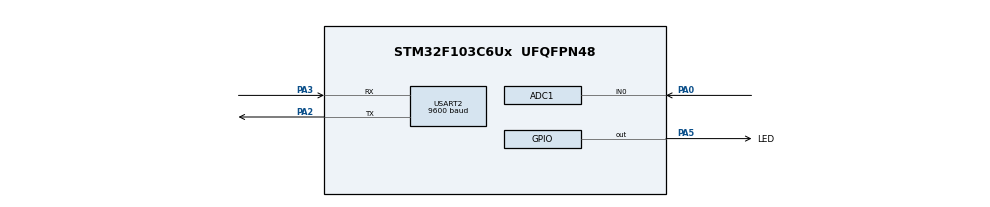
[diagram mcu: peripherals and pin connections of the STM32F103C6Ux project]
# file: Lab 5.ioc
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ADC1.Channel-0\#ChannelRegularConversion=ADC_CHANNEL_0
ADC1.ContinuousConvMode=ENABLE
ADC1.NbrOfConversionFlag=1
ADC1.Rank-0\#ChannelRegularConversion=1
ADC1.SamplingTime-0\#ChannelRegularConversion=ADC_SAMPLETIME_1CYCLE_5
ADC1.master=1
Mcu.Family=STM32F1
Mcu.Name=STM32F103C6Ux
Mcu.Package=UFQFPN48
NVIC.PriorityGroup=NVIC_PRIORITYGROUP_4
NVIC.TIM2_IRQn=true\:0\:0\:false\:false\:true\:true\:true
NVIC.USART2_IRQn=true\:0\:0\:false\:false\:true\:true\:true
PA0-WKUP.Signal=ADCx_IN0
PA2.Mode=Asynchronous
PA2.Signal=USART2_TX
PA3.Mode=Asynchronous
PA3.Signal=USART2_RX
PA5.GPIO_Label=LED
PA5.Signal=GPIO_Output
ProjectManager.HeapSize=0x200
ProjectManager.StackSize=0x400
ProjectManager.TargetToolchain=STM32CubeIDE
RCC.APB1Freq_Value=8000000
RCC.APB2Freq_Value=8000000
SH.ADCx_IN0.0=ADC1_IN0,IN0
TIM2.Period=9
TIM2.Prescaler=7999
USART2.BaudRate=9600
USART2.VirtualMode=VM_ASYNC
VP_SYS_VS_ND.Mode=No_Debug
VP_TIM2_VS_ClockSourceINT.Mode=Internal
board=custom

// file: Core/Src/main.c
/* USER CODE BEGIN Header */
/**
  ******************************************************************************
  * @file           : main.c
  * @brief          : Main program body
  ******************************************************************************
  * @attention
  *
  * <h2><center>&copy; Copyright (c) 2022 STMicroelectronics.
  * All rights reserved.</center></h2>
  *
  * This software component is licensed by ST under BSD 3-Clause license,
  * the "License"; You may not use this file except in compliance with the
  * License. You may obtain a copy of the License at:
  *                        opensource.org/licenses/BSD-3-Clause
  *
  ******************************************************************************
  */
/* USER CODE END Header */
#include "main.h"

/* USER CODE BEGIN Includes */
#include "fsm_auto.h"
#include "software_timer.h"
#include<stdio.h>
/* USER CODE END Includes */

ADC_HandleTypeDef hadc1;

TIM_HandleTypeDef htim2;

UART_HandleTypeDef huart2;

void SystemClock_Config(void);
static void MX_GPIO_Init(void);
static void MX_ADC1_Init(void);
static void MX_USART2_UART_Init(void);
static void MX_TIM2_Init(void);

/* USER CODE BEGIN 0 */
void HAL_UART_RxCpltCallback(UART_HandleTypeDef *huart){
	HAL_UART_Transmit(&huart2, &temp, 1, 50);
	if(huart -> Instance == USART2 ){
		buffer[index_buffer++] = temp;
		if(index_buffer == MAX_BUFFER_SIZE) index_buffer = 0;
		buffer_flag = 1;
	}
	HAL_UART_Receive_IT(&huart2, &temp, 1);
}
/* USER CODE END 0 */

int main(void)
{

  /* MCU Configuration--------------------------------------------------------*/

  /* Reset of all peripherals, Initializes the Flash interface and the Systick. */
  HAL_Init();

  /* Configure the system clock */
  SystemClock_Config();

  /* Initialize all configured peripherals */
  MX_GPIO_Init();
  MX_ADC1_Init();
  MX_USART2_UART_Init();
  MX_TIM2_Init();
  /* USER CODE BEGIN 2 */
  HAL_UART_Receive_IT (&huart2, &temp, 1);
  HAL_TIM_Base_Start_IT(&htim2);
  setTimer1(10);
  //setTimer2(10);
  HAL_ADC_Start(&hadc1);
  /* USER CODE END 2 */

  /* Infinite loop */
  /* USER CODE BEGIN WHILE */
  while (1)
  {
	  ADC_Value = HAL_ADC_GetValue(&hadc1);
	  if(buffer_flag == 1){
		  command_parser_fsm();
		  buffer_flag = 0;
	  }
	  uart_communication_fsm();

    /* USER CODE END WHILE */

  }
}

void SystemClock_Config(void)
{
  RCC_OscInitTypeDef RCC_OscInitStruct = {0};
  RCC_ClkInitTypeDef RCC_ClkInitStruct = {0};
  RCC_PeriphCLKInitTypeDef PeriphClkInit = {0};

  /** Initializes the RCC Oscillators according to the specified parameters
  * in the RCC_OscInitTypeDef structure.
  */
  RCC_OscInitStruct.OscillatorType = RCC_OSCILLATORTYPE_HSI;
  RCC_OscInitStruct.HSIState = RCC_HSI_ON;
  RCC_OscInitStruct.HSICalibrationValue = RCC_HSICALIBRATION_DEFAULT;
  RCC_OscInitStruct.PLL.PLLState = RCC_PLL_NONE;
  if (HAL_RCC_OscConfig(&RCC_OscInitStruct) != HAL_OK)
  {
    Error_Handler();
  }
  /** Initializes the CPU, AHB and APB buses clocks
  */
  RCC_ClkInitStruct.ClockType = RCC_CLOCKTYPE_HCLK|RCC_CLOCKTYPE_SYSCLK
                              |RCC_CLOCKTYPE_PCLK1|RCC_CLOCKTYPE_PCLK2;
  RCC_ClkInitStruct.SYSCLKSource = RCC_SYSCLKSOURCE_HSI;
  RCC_ClkInitStruct.AHBCLKDivider = RCC_SYSCLK_DIV1;
  RCC_ClkInitStruct.APB1CLKDivider = RCC_HCLK_DIV1;
  RCC_ClkInitStruct.APB2CLKDivider = RCC_HCLK_DIV1;

  if (HAL_RCC_ClockConfig(&RCC_ClkInitStruct, FLASH_LATENCY_0) != HAL_OK)
  {
    Error_Handler();
  }
  PeriphClkInit.PeriphClockSelection = RCC_PERIPHCLK_ADC;
  PeriphClkInit.AdcClockSelection = RCC_ADCPCLK2_DIV2;
  if (HAL_RCCEx_PeriphCLKConfig(&PeriphClkInit) != HAL_OK)
  {
    Error_Handler();
  }
}

static void MX_ADC1_Init(void)
{

  ADC_ChannelConfTypeDef sConfig = {0};

  /** Common config
  */
  hadc1.Instance = ADC1;
  hadc1.Init.ScanConvMode = ADC_SCAN_DISABLE;
  hadc1.Init.ContinuousConvMode = ENABLE;
  hadc1.Init.DiscontinuousConvMode = DISABLE;
  hadc1.Init.ExternalTrigConv = ADC_SOFTWARE_START;
  hadc1.Init.DataAlign = ADC_DATAALIGN_RIGHT;
  hadc1.Init.NbrOfConversion = 1;
  if (HAL_ADC_Init(&hadc1) != HAL_OK)
  {
    Error_Handler();
  }
  /** Configure Regular Channel
  */
  sConfig.Channel = ADC_CHANNEL_0;
  sConfig.Rank = ADC_REGULAR_RANK_1;
  sConfig.SamplingTime = ADC_SAMPLETIME_1CYCLE_5;
  if (HAL_ADC_ConfigChannel(&hadc1, &sConfig) != HAL_OK)
  {
    Error_Handler();
  }

}

static void MX_TIM2_Init(void)
{

  TIM_ClockConfigTypeDef sClockSourceConfig = {0};
  TIM_MasterConfigTypeDef sMasterConfig = {0};

  htim2.Instance = TIM2;
  htim2.Init.Prescaler = 7999;
  htim2.Init.CounterMode = TIM_COUNTERMODE_UP;
  htim2.Init.Period = 9;
  htim2.Init.ClockDivision = TIM_CLOCKDIVISION_DIV1;
  htim2.Init.AutoReloadPreload = TIM_AUTORELOAD_PRELOAD_DISABLE;
  if (HAL_TIM_Base_Init(&htim2) != HAL_OK)
  {
    Error_Handler();
  }
  sClockSourceConfig.ClockSource = TIM_CLOCKSOURCE_INTERNAL;
  if (HAL_TIM_ConfigClockSource(&htim2, &sClockSourceConfig) != HAL_OK)
  {
    Error_Handler();
  }
  sMasterConfig.MasterOutputTrigger = TIM_TRGO_RESET;
  sMasterConfig.MasterSlaveMode = TIM_MASTERSLAVEMODE_DISABLE;
  if (HAL_TIMEx_MasterConfigSynchronization(&htim2, &sMasterConfig) != HAL_OK)
  {
    Error_Handler();
  }

}

static void MX_USART2_UART_Init(void)
{

  huart2.Instance = USART2;
  huart2.Init.BaudRate = 9600;
  huart2.Init.WordLength = UART_WORDLENGTH_8B;
  huart2.Init.StopBits = UART_STOPBITS_1;
  huart2.Init.Parity = UART_PARITY_NONE;
  huart2.Init.Mode = UART_MODE_TX_RX;
  huart2.Init.HwFlowCtl = UART_HWCONTROL_NONE;
  huart2.Init.OverSampling = UART_OVERSAMPLING_16;
  if (HAL_UART_Init(&huart2) != HAL_OK)
  {
    Error_Handler();
  }

}

static void MX_GPIO_Init(void)
{
  GPIO_InitTypeDef GPIO_InitStruct = {0};

  /* GPIO Ports Clock Enable */
  __HAL_RCC_GPIOA_CLK_ENABLE();

  /*Configure GPIO pin Output Level */
  HAL_GPIO_WritePin(LED_GPIO_Port, LED_Pin, GPIO_PIN_RESET);

  /*Configure GPIO pin : LED_Pin */
  GPIO_InitStruct.Pin = LED_Pin;
  GPIO_InitStruct.Mode = GPIO_MODE_OUTPUT_PP;
  GPIO_InitStruct.Pull = GPIO_NOPULL;
  GPIO_InitStruct.Speed = GPIO_SPEED_FREQ_LOW;
  HAL_GPIO_Init(LED_GPIO_Port, &GPIO_InitStruct);

}

/* USER CODE BEGIN 4 */
void HAL_TIM_PeriodElapsedCallback(TIM_HandleTypeDef *htim) {
	timerRun();
}
/* USER CODE END 4 */

void Error_Handler(void)
{
  __disable_irq();
  while (1)
  {
  }
}

/************************ (C) COPYRIGHT STMicroelectronics *****END OF FILE****/
